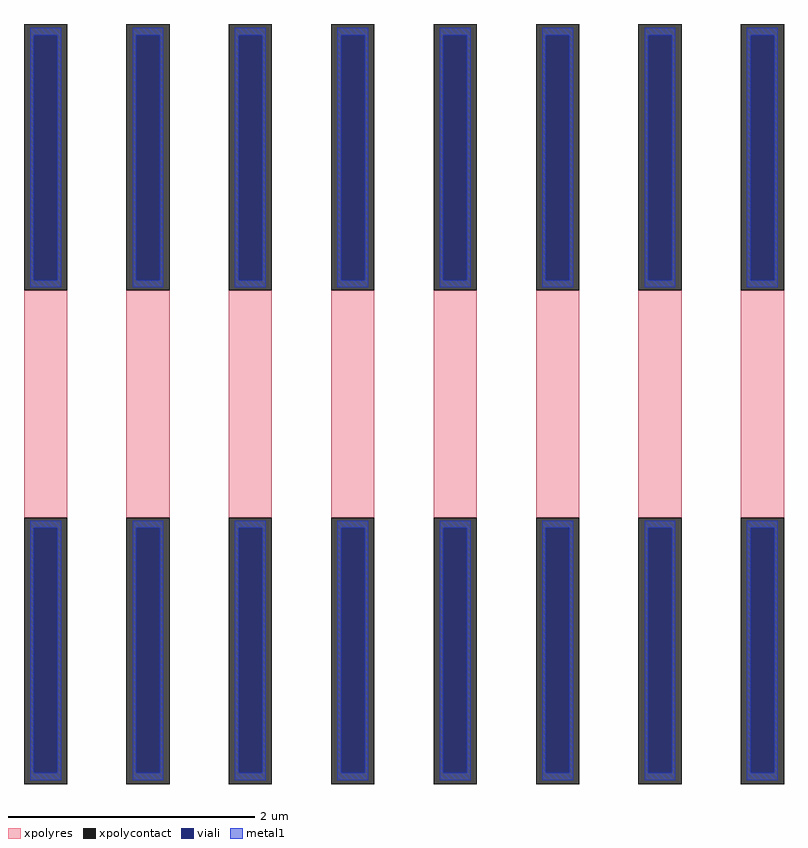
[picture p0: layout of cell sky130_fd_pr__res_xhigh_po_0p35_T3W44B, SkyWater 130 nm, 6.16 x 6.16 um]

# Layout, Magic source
magic
tech sky130A
magscale 1 2
<< xpolycontact >>
rect -616 184 -546 616
rect -616 -616 -546 -184
rect -450 184 -380 616
rect -450 -616 -380 -184
rect -284 184 -214 616
rect -284 -616 -214 -184
rect -118 184 -48 616
rect -118 -616 -48 -184
rect 48 184 118 616
rect 48 -616 118 -184
rect 214 184 284 616
rect 214 -616 284 -184
rect 380 184 450 616
rect 380 -616 450 -184
rect 546 184 616 616
rect 546 -616 616 -184
<< xpolyres >>
rect -616 -184 -546 184
rect -450 -184 -380 184
rect -284 -184 -214 184
rect -118 -184 -48 184
rect 48 -184 118 184
rect 214 -184 284 184
rect 380 -184 450 184
rect 546 -184 616 184
<< viali >>
rect -600 201 -562 598
rect -434 201 -396 598
rect -268 201 -230 598
rect -102 201 -64 598
rect 64 201 102 598
rect 230 201 268 598
rect 396 201 434 598
rect 562 201 600 598
rect -600 -598 -562 -201
rect -434 -598 -396 -201
rect -268 -598 -230 -201
rect -102 -598 -64 -201
rect 64 -598 102 -201
rect 230 -598 268 -201
rect 396 -598 434 -201
rect 562 -598 600 -201
<< metal1 >>
rect -606 598 -556 610
rect -606 201 -600 598
rect -562 201 -556 598
rect -606 189 -556 201
rect -440 598 -390 610
rect -440 201 -434 598
rect -396 201 -390 598
rect -440 189 -390 201
rect -274 598 -224 610
rect -274 201 -268 598
rect -230 201 -224 598
rect -274 189 -224 201
rect -108 598 -58 610
rect -108 201 -102 598
rect -64 201 -58 598
rect -108 189 -58 201
rect 58 598 108 610
rect 58 201 64 598
rect 102 201 108 598
rect 58 189 108 201
rect 224 598 274 610
rect 224 201 230 598
rect 268 201 274 598
rect 224 189 274 201
rect 390 598 440 610
rect 390 201 396 598
rect 434 201 440 598
rect 390 189 440 201
rect 556 598 606 610
rect 556 201 562 598
rect 600 201 606 598
rect 556 189 606 201
rect -606 -201 -556 -189
rect -606 -598 -600 -201
rect -562 -598 -556 -201
rect -606 -610 -556 -598
rect -440 -201 -390 -189
rect -440 -598 -434 -201
rect -396 -598 -390 -201
rect -440 -610 -390 -598
rect -274 -201 -224 -189
rect -274 -598 -268 -201
rect -230 -598 -224 -201
rect -274 -610 -224 -598
rect -108 -201 -58 -189
rect -108 -598 -102 -201
rect -64 -598 -58 -201
rect -108 -610 -58 -598
rect 58 -201 108 -189
rect 58 -598 64 -201
rect 102 -598 108 -201
rect 58 -610 108 -598
rect 224 -201 274 -189
rect 224 -598 230 -201
rect 268 -598 274 -201
rect 224 -610 274 -598
rect 390 -201 440 -189
rect 390 -598 396 -201
rect 434 -598 440 -201
rect 390 -610 440 -598
rect 556 -201 606 -189
rect 556 -598 562 -201
rect 600 -598 606 -201
rect 556 -610 606 -598
<< properties >>
string gencell sky130_fd_pr__res_xhigh_po_0p35
string library sky130
string parameters w 0.35 l 2 m 1 nx 8 wmin 0.350 lmin 0.50 rho 2000 val 12.504k dummy 0 dw 0.0 term 188.2 sterm 0.0 caplen 0 wmax 0.350 guard 0 glc 0 grc 0 gtc 0 gbc 0 compatible {sky130_fd_pr__res_xhigh_po_0p35  sky130_fd_pr__res_xhigh_po_0p69 sky130_fd_pr__res_xhigh_po_1p41  sky130_fd_pr__res_xhigh_po_2p85 sky130_fd_pr__res_xhigh_po_5p73} snake 0 full_metal 0 n_guard 0 hv_guard 0 vias 1 viagb 0 viagt 0 viagl 0 viagr 0
<< end >>
